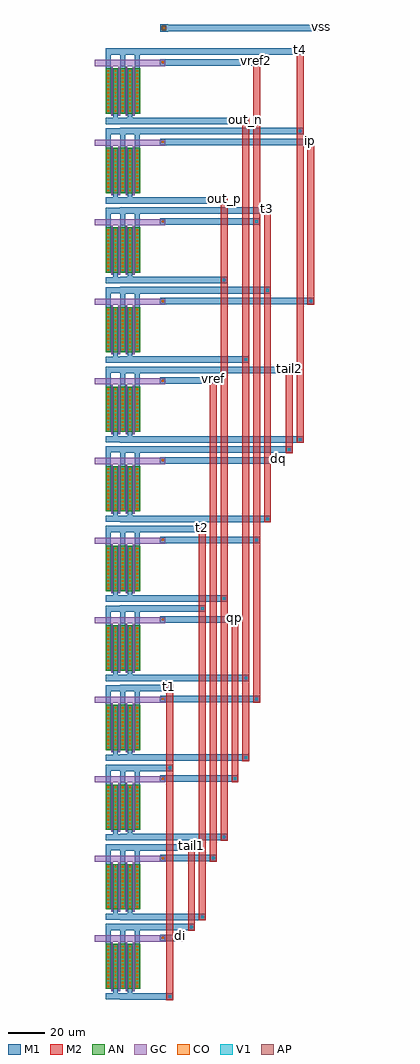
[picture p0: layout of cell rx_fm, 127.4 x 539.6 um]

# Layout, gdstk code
import gdstk
lib = gdstk.Library(unit=1e-6, precision=1e-09)
def R(c, l, rs):  # rectangles x0, y0, x1, y1
    for r in rs: c.add(gdstk.rectangle(r[:2], r[2:], *l))
def A(c, l, x, y, w, h, nx, ny, dx, dy):  # array of equal rectangles
    R(c, l, [(x+i*dx, y+j*dy, x+i*dx+w, y+j*dy+h) for i in range(nx) for j in range(ny)])
AP = (3, 1)
AN = (3, 2)
GC = (8, 1)
CO = (11, 0)
M1 = (13, 0)
V1 = (19, 0)
M2 = (20, 0)

rx_fm = lib.new_cell('rx_fm')
R(rx_fm, AP, [(34,530,36.6,532.6)])
A(rx_fm, AN, 3, 0, 19, 25, 1, 12, 0, 44)
A(rx_fm, GC, 6, -1.2, 1, 27.4, 4, 12, 4, 44)
A(rx_fm, GC, -3, 26.2, 39, 3.4, 1, 12, 0, 44)
A(rx_fm, CO, 4, 1, 1, 1, 5, 12, 4, 2)
A(rx_fm, CO, 34, 27.8, 1, 1, 1, 12, 0, 44)
A(rx_fm, CO, 4, 45, 1, 1, 5, 12, 4, 2)
A(rx_fm, CO, 4, 89, 1, 1, 5, 12, 4, 2)
A(rx_fm, CO, 4, 133, 1, 1, 5, 12, 4, 2)
A(rx_fm, CO, 4, 177, 1, 1, 5, 12, 4, 2)
A(rx_fm, CO, 4, 221, 1, 1, 5, 12, 4, 2)
A(rx_fm, CO, 4, 265, 1, 1, 5, 12, 4, 2)
A(rx_fm, CO, 4, 309, 1, 1, 5, 12, 4, 2)
A(rx_fm, CO, 4, 353, 1, 1, 5, 12, 4, 2)
A(rx_fm, CO, 4, 397, 1, 1, 5, 12, 4, 2)
A(rx_fm, CO, 4, 441, 1, 1, 5, 12, 4, 2)
A(rx_fm, CO, 4, 485, 1, 1, 5, 12, 4, 2)
R(rx_fm, CO, [(34.8,530.8,35.8,531.8)])
A(rx_fm, M1, 7.2, -5.8, 2.6, 30.6, 1, 12, 0, 44)
A(rx_fm, M1, 15.2, -5.8, 2.6, 30.6, 1, 12, 0, 44)
A(rx_fm, M1, 3.2, 0.2, 2.6, 33.3, 3, 12, 8, 44)
A(rx_fm, M1, 33, 27, 3, 2.6, 1, 12, 0, 44)
R(rx_fm, M1, [(11.2,-5.9,40.4,-2.3), (3,-5.8,22,-2.4), (33.2,26.5,46.4,30.1), (11.2,32.5,52.4,36.1), (3,32.6,22,36), (11.2,38.1,58.4,41.7), (3,38.2,22,41.6), (33.2,70.5,64.4,74.1), (11.2,76.5,52.4,80.1), (3,76.6,22,80), (11.2,82.1,70.4,85.7), (3,82.2,22,85.6), (33.2,114.5,76.4,118.1), (11.2,120.5,40.4,124.1), (3,120.6,22,124), (11.2,126.1,82.4,129.7), (3,126.2,22,129.6), (33.2,158.5,88.4,162.1), (11.2,164.5,40.4,168.1), (3,164.6,22,168), (11.2,170.1,82.4,173.7), (3,170.2,22,173.6), (33.2,202.5,76.4,206.1), (11.2,208.5,58.4,212.1), (3,208.6,22,212), (11.2,214.1,70.4,217.7), (3,214.2,22,217.6), (33.2,246.5,88.4,250.1), (11.2,252.5,58.4,256.1), (3,252.6,22,256), (11.2,258.1,94.4,261.7), (3,258.2,22,261.6), (33.2,290.5,100.4,294.1), (11.2,296.5,106.4,300.1), (3,296.6,22,300), (11.2,302.1,112.4,305.7), (3,302.2,22,305.6), (33.2,334.5,64.4,338.1), (11.2,340.5,106.4,344.1), (3,340.6,22,344), (11.2,346.1,82.4,349.7), (3,346.2,22,349.6), (33.2,378.5,118.4,382.1), (11.2,384.5,94.4,388.1), (3,384.6,22,388), (11.2,390.1,70.4,393.7), (3,390.2,22,393.6), (33.2,422.5,88.4,426.1), (11.2,428.5,94.4,432.1), (3,428.6,22,432), (11.2,434.1,70.4,437.7), (3,434.2,22,437.6), (33.2,466.5,118.4,470.1), (11.2,472.5,112.4,476.1), (3,472.6,22,476), (11.2,478.1,82.4,481.7), (3,478.2,22,481.6), (33.2,510.5,88.4,514.1), (11.2,516.5,112.4,520.1), (3,516.6,22,520), (33.1,529.1,37.5,533.5), (34,529.5,124.4,533.1)])
R(rx_fm, V1, [(37.8,-4.8,39.2,-3.4), (43.8,27.6,45.2,29), (49.8,33.6,51.2,35), (55.8,39.2,57.2,40.6), (61.8,71.6,63.2,73), (49.8,77.6,51.2,79), (67.8,83.2,69.2,84.6), (73.8,115.6,75.2,117), (37.8,121.6,39.2,123), (79.8,127.2,81.2,128.6), (85.8,159.6,87.2,161), (37.8,165.6,39.2,167), (79.8,171.2,81.2,172.6), (73.8,203.6,75.2,205), (55.8,209.6,57.2,211), (67.8,215.2,69.2,216.6), (85.8,247.6,87.2,249), (55.8,253.6,57.2,255), (91.8,259.2,93.2,260.6), (97.8,291.6,99.2,293), (103.8,297.6,105.2,299), (109.8,303.2,111.2,304.6), (61.8,335.6,63.2,337), (103.8,341.6,105.2,343), (79.8,347.2,81.2,348.6), (115.8,379.6,117.2,381), (91.8,385.6,93.2,387), (67.8,391.2,69.2,392.6), (85.8,423.6,87.2,425), (91.8,429.6,93.2,431), (67.8,435.2,69.2,436.6), (115.8,467.6,117.2,469), (109.8,473.6,111.2,475), (79.8,479.2,81.2,480.6), (85.8,511.6,87.2,513), (109.8,517.6,111.2,519), (121.8,530.6,123.2,532)])
R(rx_fm, M2, [(36.6,-6.1,40.4,168.3), (42.6,26.3,46.4,30.3), (48.6,32.3,52.4,80.3), (54.6,37.9,58.4,256.3), (60.6,70.3,64.4,338.3), (66.6,81.9,70.4,437.9), (72.6,114.3,76.4,206.3), (78.6,125.9,82.4,481.9), (84.6,158.3,88.4,514.3), (90.6,257.9,94.4,432.3), (96.6,290.3,100.4,294.3), (102.6,296.3,106.4,344.3), (108.6,301.9,112.4,520.3), (114.6,378.3,118.4,470.3), (120.6,529.3,124.4,533.3)])
rx_fm.add(gdstk.Label('t1', (38.5,167.3), layer=49, texttype=0))
rx_fm.add(gdstk.Label('t2', (56.5,255.3), layer=49, texttype=0))
rx_fm.add(gdstk.Label('t3', (92.5,431.3), layer=49, texttype=0))
rx_fm.add(gdstk.Label('t4', (110.5,519.3), layer=49, texttype=0))
rx_fm.add(gdstk.Label('di', (44.5,29.3), layer=49, texttype=0))
rx_fm.add(gdstk.Label('dq', (98.5,293.3), layer=49, texttype=0))
rx_fm.add(gdstk.Label('qp', (74.5,205.3), layer=49, texttype=0))
rx_fm.add(gdstk.Label('ip', (116.5,469.3), layer=49, texttype=0))
rx_fm.add(gdstk.Label('vref', (62.5,337.3), layer=49, texttype=0))
rx_fm.add(gdstk.Label('vref2', (86.5,513.3), layer=49, texttype=0))
rx_fm.add(gdstk.Label('out_p', (68.5,436.9), layer=49, texttype=0))
rx_fm.add(gdstk.Label('out_n', (80.5,480.9), layer=49, texttype=0))
rx_fm.add(gdstk.Label('tail1', (50.5,79.3), layer=49, texttype=0))
rx_fm.add(gdstk.Label('tail2', (104.5,343.3), layer=49, texttype=0))
rx_fm.add(gdstk.Label('vss', (122.5,532.3), layer=49, texttype=0))

lib.write_gds('rx_fm.gds')
